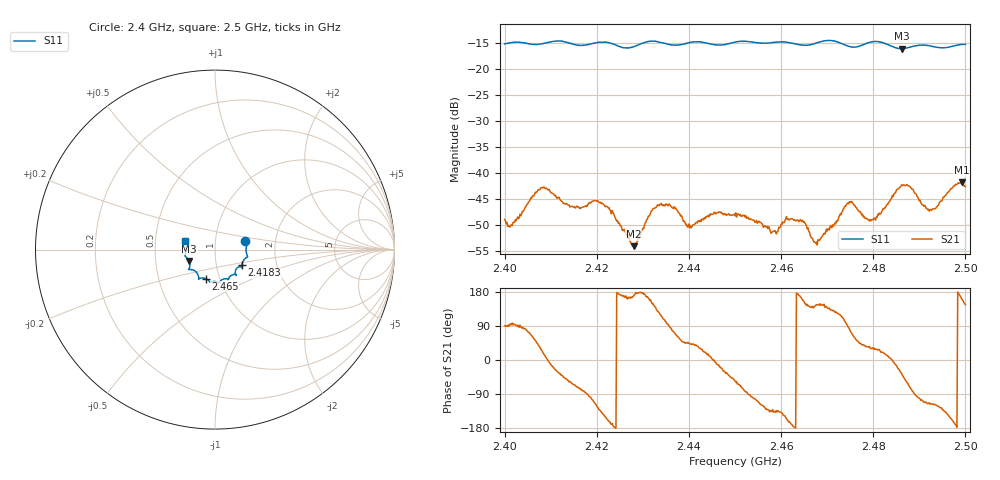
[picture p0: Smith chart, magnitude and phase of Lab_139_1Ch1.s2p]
# Hz S RI R 50
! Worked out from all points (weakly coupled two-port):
!   601 points, 2.4 GHz to 2.5 GHz, reference 50 ohm
!   highest |S21| = -41.83 dB at 2.4992 GHz (marker M1); lowest = -54.1 dB at 2.428 GHz (marker M2)
!   lowest |S11| = -16.1 dB at 2.4862 GHz (marker M3), VSWR 1.37, Z = 37.1 - j4.81 ohm
!   |S11| at or under -10 dB: start of sweep to end of sweep
!   S12 and S22 are empty: the file has one direction only
!   S11 on the Smith chart (normalised r, x): 2.4 GHz: 1.40, +0.14; 2.4183 GHz: 1.33, -0.24; 2.465 GHz: 0.86, -0.29; 2.5 GHz: 0.71, +0.07
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2.4e9  0.1686 0.0469  -2.24e-05 0.00357  0 0  0 0
2.401667e9  0.1765 0.0389  -0.000412 0.00308  0 0  0 0
2.408333e9  0.1756 -0.0195  0.00677 0.00232  0 0  0 0
2.416667e9  0.1547 -0.0684  0.000992 -0.0045  0 0  0 0
2.418333e9  0.1502 -0.087  -0.000545 -0.00516  0 0  0 0
2.4225e9  0.1514 -0.0978  -0.00432 -0.00157  0 0  0 0
2.428e9  0.1138 -0.1185  -0.00194 0.00036  0 0  0 0
2.433333e9  0.1175 -0.1411  -0.00297 0.00389  0 0  0 0
2.440167e9  0.0757 -0.1638  0.00214 0.00201  0 0  0 0
2.45e9  0.0261 -0.1803  0.0022 -0.00318  0 0  0 0
2.458333e9  -0.0194 -0.1797  -0.00201 -0.00187  0 0  0 0
2.4615e9  -0.03 -0.1781  -0.0034 -0.00123  0 0  0 0
2.465e9  -0.0523 -0.1616  -0.00306 0.00148  0 0  0 0
2.466667e9  -0.0712 -0.1578  -0.00178 0.00156  0 0  0 0
2.468e9  -0.0834 -0.1602  -0.00187 0.00128  0 0  0 0
2.474833e9  -0.0996 -0.1318  0.000756 0.00523  0 0  0 0
2.4795e9  -0.1448 -0.111  0.003 0.00171  0 0  0 0
2.483333e9  -0.1411 -0.0967  0.00516 0.000706  0 0  0 0
2.486167e9  -0.1441 -0.0631  0.00619 -0.00451  0 0  0 0
2.492333e9  -0.1655 -0.0261  -0.00198 -0.00394  0 0  0 0
2.499167e9  -0.1677 0.0427  -0.00771 0.00247  0 0  0 0
2.5e9  -0.1668 0.0469  -0.0061 0.00413  0 0  0 0
